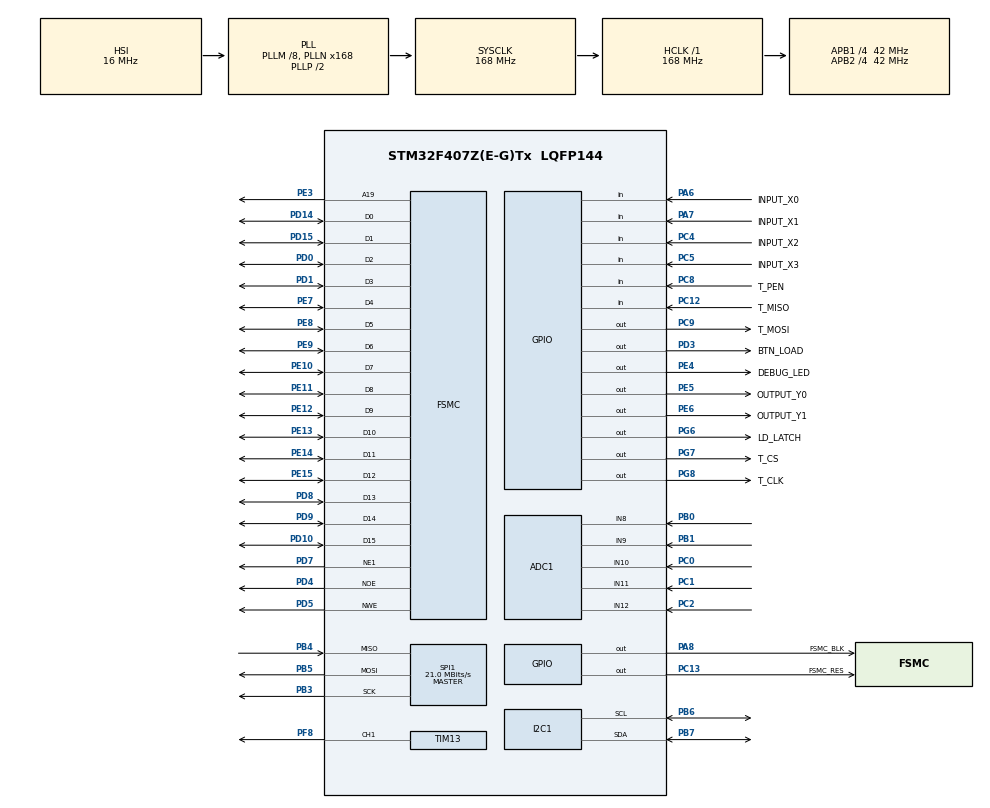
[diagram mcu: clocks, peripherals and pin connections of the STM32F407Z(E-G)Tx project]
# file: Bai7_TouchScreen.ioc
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ADC1.Channel-0\#ChannelRegularConversion=ADC_CHANNEL_8
ADC1.Channel-1\#ChannelRegularConversion=ADC_CHANNEL_9
ADC1.Channel-2\#ChannelRegularConversion=ADC_CHANNEL_10
ADC1.Channel-3\#ChannelRegularConversion=ADC_CHANNEL_11
ADC1.Channel-4\#ChannelRegularConversion=ADC_CHANNEL_12
ADC1.NbrOfConversion=5
ADC1.NbrOfConversionFlag=1
ADC1.Rank-0\#ChannelRegularConversion=1
ADC1.Rank-1\#ChannelRegularConversion=2
ADC1.Rank-2\#ChannelRegularConversion=3
ADC1.Rank-3\#ChannelRegularConversion=4
ADC1.Rank-4\#ChannelRegularConversion=5
ADC1.SamplingTime-0\#ChannelRegularConversion=ADC_SAMPLETIME_3CYCLES
ADC1.SamplingTime-1\#ChannelRegularConversion=ADC_SAMPLETIME_3CYCLES
ADC1.SamplingTime-2\#ChannelRegularConversion=ADC_SAMPLETIME_3CYCLES
ADC1.SamplingTime-3\#ChannelRegularConversion=ADC_SAMPLETIME_3CYCLES
ADC1.SamplingTime-4\#ChannelRegularConversion=ADC_SAMPLETIME_3CYCLES
ADC1.ScanConvMode=ENABLE
ADC1.master=1
Dma.ADC1.0.Direction=DMA_PERIPH_TO_MEMORY
Dma.ADC1.0.FIFOMode=DMA_FIFOMODE_DISABLE
Dma.ADC1.0.Instance=DMA2_Stream0
Dma.ADC1.0.MemDataAlignment=DMA_MDATAALIGN_HALFWORD
Dma.ADC1.0.MemInc=DMA_MINC_ENABLE
Dma.ADC1.0.Mode=DMA_CIRCULAR
Dma.ADC1.0.PeriphDataAlignment=DMA_PDATAALIGN_HALFWORD
Dma.ADC1.0.PeriphInc=DMA_PINC_DISABLE
Dma.ADC1.0.Priority=DMA_PRIORITY_LOW
Dma.Request0=ADC1
FSMC.AddressSetupTime1=0xf
FSMC.BusTurnAroundDuration1=0
FSMC.DataSetupTime1=60
FSMC.ExtendedAddressSetupTime1=8
FSMC.ExtendedBusTurnAroundDuration1=0
FSMC.ExtendedDataSetupTime1=9
FSMC.ExtendedMode1=FSMC_EXTENDED_MODE_ENABLE
I2C1.I2C_Mode=I2C_Standard
Mcu.Family=STM32F4
Mcu.Name=STM32F407Z(E-G)Tx
Mcu.Package=LQFP144
NVIC.DMA2_Stream0_IRQn=true\:0\:0\:false\:false\:true\:false\:true\:true
NVIC.PriorityGroup=NVIC_PRIORITYGROUP_4
NVIC.TIM2_IRQn=true\:0\:0\:false\:false\:true\:true\:true\:true
PA13.Mode=Serial_Wire
PA13.Signal=SYS_JTMS-SWDIO
PA14.Mode=Serial_Wire
PA14.Signal=SYS_JTCK-SWCLK
PA6.GPIO_Label=INPUT_X0
PA6.Signal=GPIO_Input
PA7.GPIO_Label=INPUT_X1
PA7.Signal=GPIO_Input
PA8.GPIO_Label=FSMC_BLK
PA8.Signal=GPIO_Output
PB0.Signal=ADCx_IN8
PB1.Signal=ADCx_IN9
PB3.Mode=Full_Duplex_Master
PB3.Signal=SPI1_SCK
PB4.Mode=Full_Duplex_Master
PB4.Signal=SPI1_MISO
PB5.Mode=Full_Duplex_Master
PB5.Signal=SPI1_MOSI
PB6.Mode=I2C
PB6.Signal=I2C1_SCL
PB7.Mode=I2C
PB7.Signal=I2C1_SDA
PC0.Signal=ADCx_IN10
PC1.Signal=ADCx_IN11
PC12.GPIO_Label=T_MISO
PC12.GPIO_PuPd=GPIO_PULLUP
PC12.Signal=GPIO_Input
PC13-ANTI_TAMP.GPIO_Label=FSMC_RES
PC13-ANTI_TAMP.Signal=GPIO_Output
PC2.Signal=ADCx_IN12
PC4.GPIO_Label=INPUT_X2
PC4.Signal=GPIO_Input
PC5.GPIO_Label=INPUT_X3
PC5.Signal=GPIO_Input
PC8.GPIO_Label=T_PEN
PC8.GPIO_PuPd=GPIO_PULLUP
PC8.Signal=GPIO_Input
PC9.GPIO_Label=T_MOSI
PC9.Signal=GPIO_Output
PD0.Signal=FSMC_D2_DA2
PD1.Signal=FSMC_D3_DA3
PD10.Signal=FSMC_D15_DA15
PD14.Signal=FSMC_D0_DA0
PD15.Signal=FSMC_D1_DA1
PD3.GPIO_Label=BTN_LOAD
PD3.Signal=GPIO_Output
PD4.Signal=FSMC_NOE
PD5.Signal=FSMC_NWE
PD7.Mode=NorPsramChipSelect1_1
PD7.Signal=FSMC_NE1
PD8.Signal=FSMC_D13_DA13
PD9.Signal=FSMC_D14_DA14
PE10.Signal=FSMC_D7_DA7
PE11.Signal=FSMC_D8_DA8
PE12.Signal=FSMC_D9_DA9
PE13.Signal=FSMC_D10_DA10
PE14.Signal=FSMC_D11_DA11
PE15.Signal=FSMC_D12_DA12
PE3.Signal=FSMC_A19
PE4.GPIO_Label=DEBUG_LED
PE4.Signal=GPIO_Output
PE5.GPIO_Label=OUTPUT_Y0
PE5.Signal=GPIO_Output
PE6.GPIO_Label=OUTPUT_Y1
PE6.Signal=GPIO_Output
PE7.Signal=FSMC_D4_DA4
PE8.Signal=FSMC_D5_DA5
PE9.Signal=FSMC_D6_DA6
PF8.Signal=S_TIM13_CH1
PG6.GPIO_Label=LD_LATCH
PG6.Signal=GPIO_Output
PG7.GPIO_Label=T_CS
PG7.Signal=GPIO_Output
PG8.GPIO_Label=T_CLK
PG8.Signal=GPIO_Output
PH0-OSC_IN.Mode=HSE-External-Oscillator
PH0-OSC_IN.Signal=RCC_OSC_IN
PH1-OSC_OUT.Mode=HSE-External-Oscillator
PH1-OSC_OUT.Signal=RCC_OSC_OUT
ProjectManager.HeapSize=0x200
ProjectManager.StackSize=0x400
ProjectManager.TargetToolchain=STM32CubeIDE
RCC.48MHZClocksFreq_Value=84000000
RCC.AHBFreq_Value=168000000
RCC.APB1CLKDivider=RCC_HCLK_DIV4
RCC.APB1Freq_Value=42000000
RCC.APB1TimFreq_Value=84000000
RCC.APB2CLKDivider=RCC_HCLK_DIV4
RCC.APB2Freq_Value=42000000
RCC.APB2TimFreq_Value=84000000
RCC.CortexFreq_Value=168000000
RCC.HCLKFreq_Value=168000000
RCC.HSE_VALUE=8000000
RCC.HSI_VALUE=16000000
RCC.LSE_VALUE=32768
RCC.PLLM=8
RCC.PLLN=168
RCC.SYSCLKFreq_VALUE=168000000
RCC.SYSCLKSource=RCC_SYSCLKSOURCE_PLLCLK
RCC.VCOOutputFreq_Value=336000000
SH.ADCx_IN10.0=ADC1_IN10,IN10
SH.ADCx_IN11.0=ADC1_IN11,IN11
SH.ADCx_IN12.0=ADC1_IN12,IN12
SH.ADCx_IN8.0=ADC1_IN8,IN8
SH.ADCx_IN9.0=ADC1_IN9,IN9
SH.FSMC_A19.0=FSMC_A19,A19_1
SH.FSMC_D0_DA0.0=FSMC_D0,16b-d1
SH.FSMC_D10_DA10.0=FSMC_D10,16b-d1
SH.FSMC_D11_DA11.0=FSMC_D11,16b-d1
SH.FSMC_D12_DA12.0=FSMC_D12,16b-d1
SH.FSMC_D13_DA13.0=FSMC_D13,16b-d1
SH.FSMC_D14_DA14.0=FSMC_D14,16b-d1
SH.FSMC_D15_DA15.0=FSMC_D15,16b-d1
SH.FSMC_D1_DA1.0=FSMC_D1,16b-d1
SH.FSMC_D2_DA2.0=FSMC_D2,16b-d1
SH.FSMC_D3_DA3.0=FSMC_D3,16b-d1
SH.FSMC_D4_DA4.0=FSMC_D4,16b-d1
SH.FSMC_D5_DA5.0=FSMC_D5,16b-d1
SH.FSMC_D6_DA6.0=FSMC_D6,16b-d1
SH.FSMC_D7_DA7.0=FSMC_D7,16b-d1
SH.FSMC_D8_DA8.0=FSMC_D8,16b-d1
SH.FSMC_D9_DA9.0=FSMC_D9,16b-d1
SH.FSMC_NOE.0=FSMC_NOE,Lcd1
SH.FSMC_NWE.0=FSMC_NWE,Lcd1
SH.S_TIM13_CH1.0=TIM13_CH1,PWM Generation1 CH1
SPI1.BaudRatePrescaler=SPI_BAUDRATEPRESCALER_2
SPI1.CalculateBaudRate=21.0 MBits/s
SPI1.Direction=SPI_DIRECTION_2LINES
SPI1.Mode=SPI_MODE_MASTER
SPI1.VirtualType=VM_MASTER
TIM1.Prescaler=84-1
TIM13.Channel=TIM_CHANNEL_1
TIM13.Period=100-1
TIM13.Prescaler=840-1
TIM2.Period=100-1
TIM2.Prescaler=840-1
VP_TIM13_VS_ClockSourceINT.Mode=Enable_Timer
VP_TIM1_VS_ClockSourceINT.Mode=Internal
VP_TIM2_VS_ClockSourceINT.Mode=Internal
board=custom

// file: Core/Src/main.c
/* USER CODE BEGIN Header */
/**
  ******************************************************************************
  * @file           : main.c
  * @brief          : Main program body
  ******************************************************************************
  * @attention
  *
  * <h2><center>&copy; Copyright (c) 2023 STMicroelectronics.
  * All rights reserved.</center></h2>
  *
  * This software component is licensed by ST under BSD 3-Clause license,
  * the "License"; You may not use this file except in compliance with the
  * License. You may obtain a copy of the License at:
  *                        opensource.org/licenses/BSD-3-Clause
  *
  ******************************************************************************
  */
/* USER CODE END Header */
#include "main.h"
#include "adc.h"
#include "dma.h"
#include "i2c.h"
#include "spi.h"
#include "tim.h"
#include "gpio.h"
#include "fsmc.h"

/* USER CODE BEGIN Includes */
#include "software_timer.h"
#include "led_7seg.h"
#include "button.h"
#include "lcd.h"
#include "picture.h"
#include "ds3231.h"
#include "sensor.h"
#include "buzzer.h"
#include "touch.h"

#include "snake.h"
/* USER CODE END Includes */

/* USER CODE BEGIN PV */
#define INIT 0
#define DRAW 1
#define CLEAR 2

int draw_Status = INIT;
/* USER CODE END PV */

void SystemClock_Config(void);
/* USER CODE BEGIN PFP */
void system_init();
void test_LedDebug();
void touchProcess();
uint8_t isButtonClear();
/* USER CODE END PFP */

int main(void)
{

  /* MCU Configuration--------------------------------------------------------*/

  /* Reset of all peripherals, Initializes the Flash interface and the Systick. */
  HAL_Init();

  /* Configure the system clock */
  SystemClock_Config();

  /* Initialize all configured peripherals */
  MX_GPIO_Init();
  MX_TIM2_Init();
  MX_SPI1_Init();
  MX_FSMC_Init();
  MX_I2C1_Init();
  MX_TIM13_Init();
  MX_DMA_Init();
  MX_ADC1_Init();
  MX_TIM1_Init();
  /* USER CODE BEGIN 2 */
//  lcd_Clear(BLACK);

  lcd_Clear(BLACK);
  system_init();
  /* USER CODE END 2 */

  /* Infinite loop */
  /* USER CODE BEGIN WHILE */
// touch_Adjust();
 static uint16_t snake_tick_acc = 0;
 while (1)
  {
	  //scan touch screen
	  touch_Scan();
	  //check if touch screen is touched
	  if(touch_IsTouched() && draw_Status == DRAW){
            //draw a point at the touch position
//		  lcd_DrawPoint(touch_GetX(), touch_GetY(), RED);
	  }
	  // 50ms task
	  if(flag_timer2 == 1){
		  flag_timer2 = 0;
		  touchProcess();
		  test_LedDebug();

		    // accumulate ms and call snake_on_tick when needed
		    snake_tick_acc += 50; // because setTimer2 is 50ms
		    if(snake_tick_acc >= SNAKE_TICK_MS){
		        snake_tick_acc = 0;
		        // if game over and screen touched -> restart
		        // we check inside snake_on_tick for alive; here treat restart by touch
		        if(!touch_IsTouched()){
		            // just update game
		            snake_on_tick();
		        } else {
		            // if game over (alive==0), restart on touch
		            // easiest: attempt to restart when screen touched and game is not alive
		            // but we don't expose `alive` variable — instead, detect presence of "GAME OVER" by checking snake state?
		            // Simpler: always call on_tick, and if dead, the snake code will display message and ignore moves.
		            snake_on_tick();
		        }
		    }
		    // also handle restart if dead & touched:
		    if( !touch_IsTouched() ){
		        // nothing
		    } else {
		        // touch pressed; try restart (we cannot directly read 'alive' here)
		        // So attempt to restart if the head isn't present or when user touches after dead: simple approach:
		        // we'll detect if the head pixel equals food location or if there was "GAME OVER" overlay — easiest is to simply restart on touch after not alive.
		        // Implement a public flag in snake.c if you want explicit check. For now, call snake_restart if touch pressed and snake is not moving (user will restart).
		        // But we need access; instead add a small API in snake.h if desired. For now, check:
		    }

		    if(!snake_is_alive() && touch_IsTouched()){
		        // wait for release to avoid double immediate tick
		        HAL_Delay(100);
		        while(touch_IsTouched()){}
		        snake_restart();
		    }
	  }

    /* USER CODE END WHILE */

  }
}

void SystemClock_Config(void)
{
  RCC_OscInitTypeDef RCC_OscInitStruct = {0};
  RCC_ClkInitTypeDef RCC_ClkInitStruct = {0};

  /** Configure the main internal regulator output voltage
  */
  __HAL_RCC_PWR_CLK_ENABLE();
  __HAL_PWR_VOLTAGESCALING_CONFIG(PWR_REGULATOR_VOLTAGE_SCALE1);
  /** Initializes the RCC Oscillators according to the specified parameters
  * in the RCC_OscInitTypeDef structure.
  */
  RCC_OscInitStruct.OscillatorType = RCC_OSCILLATORTYPE_HSI;
  RCC_OscInitStruct.HSIState = RCC_HSI_ON;
  RCC_OscInitStruct.HSICalibrationValue = RCC_HSICALIBRATION_DEFAULT;
  RCC_OscInitStruct.PLL.PLLState = RCC_PLL_ON;
  RCC_OscInitStruct.PLL.PLLSource = RCC_PLLSOURCE_HSI;
  RCC_OscInitStruct.PLL.PLLM = 8;
  RCC_OscInitStruct.PLL.PLLN = 168;
  RCC_OscInitStruct.PLL.PLLP = RCC_PLLP_DIV2;
  RCC_OscInitStruct.PLL.PLLQ = 4;
  if (HAL_RCC_OscConfig(&RCC_OscInitStruct) != HAL_OK)
  {
    Error_Handler();
  }
  /** Initializes the CPU, AHB and APB buses clocks
  */
  RCC_ClkInitStruct.ClockType = RCC_CLOCKTYPE_HCLK|RCC_CLOCKTYPE_SYSCLK
                              |RCC_CLOCKTYPE_PCLK1|RCC_CLOCKTYPE_PCLK2;
  RCC_ClkInitStruct.SYSCLKSource = RCC_SYSCLKSOURCE_PLLCLK;
  RCC_ClkInitStruct.AHBCLKDivider = RCC_SYSCLK_DIV1;
  RCC_ClkInitStruct.APB1CLKDivider = RCC_HCLK_DIV4;
  RCC_ClkInitStruct.APB2CLKDivider = RCC_HCLK_DIV4;

  if (HAL_RCC_ClockConfig(&RCC_ClkInitStruct, FLASH_LATENCY_5) != HAL_OK)
  {
    Error_Handler();
  }
}

/* USER CODE BEGIN 4 */
void system_init(){
	  timer_init();
	  button_init();
	  lcd_init();
	  touch_init();
	  snake_init();
	  draw_buttons();
	  setTimer2(50);
}

uint8_t count_led_debug = 0;

void test_LedDebug(){
	count_led_debug = (count_led_debug + 1)%20;
	if(count_led_debug == 0){
		HAL_GPIO_TogglePin(DEBUG_LED_GPIO_Port, DEBUG_LED_Pin);
	}
}

uint8_t isButtonClear(){
	if(!touch_IsTouched()) return 0;
	return touch_GetX() > 60 && touch_GetX() < 180 && touch_GetY() > 10 && touch_GetY() < 60;
}

void touchProcess(){
	switch (draw_Status) {
		case INIT:
                // display blue button
//			lcd_Fill(60, 10, 180, 60, GBLUE);
//			lcd_ShowStr(90, 20, "CLEAR", RED, BLACK, 24, 1);
			draw_Status = DRAW;
			break;
		case DRAW:
			if(isButtonClear()){
				draw_Status = CLEAR;
                    // clear board
//				lcd_Fill(0, 60, 240, 320, BLACK);
                    // display green button
//				lcd_Fill(60, 10, 180, 60, GREEN);
//				lcd_ShowStr(90, 20, "CLEAR", RED, BLACK, 24, 1);
			}
			break;
		case CLEAR:
			if(!touch_IsTouched()) draw_Status = INIT;
			break;
		default:
			break;
	}
}
/* USER CODE END 4 */

void Error_Handler(void)
{
  __disable_irq();
  while (1)
  {
  }
}

/************************ (C) COPYRIGHT STMicroelectronics *****END OF FILE****/
